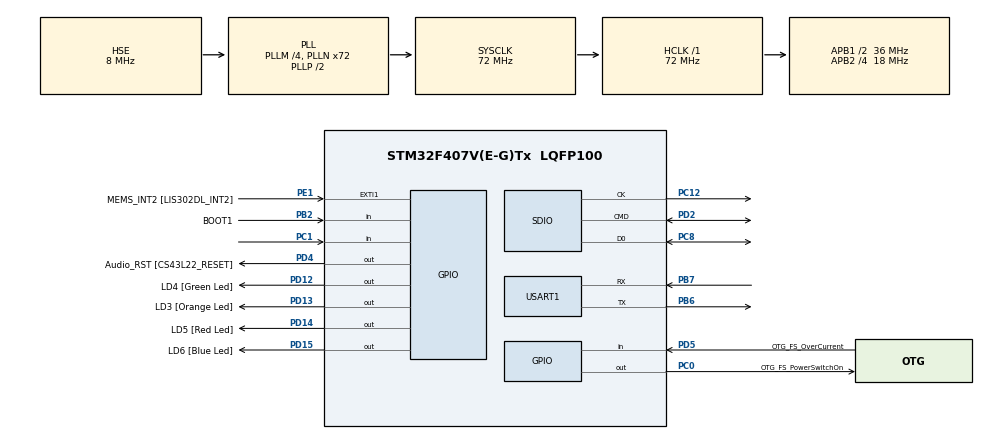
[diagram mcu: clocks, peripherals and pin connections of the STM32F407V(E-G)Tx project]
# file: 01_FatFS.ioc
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FATFS.BSP.number=1
FATFS._FS_EXFAT=0
FATFS._FS_RPATH=2
FATFS._MAX_SS=4096
FATFS._USE_LFN=0
FATFS._USE_STRFUNC=2
FATFS0.BSP.STBoard=false
FATFS0.BSP.api=Unknown
FATFS0.BSP.instance=PC1
FATFS0.BSP.ip=GPIO
FATFS0.BSP.mode=Input
FATFS0.BSP.name=Detect_SDIO
FATFS0.BSP.solution=PC1
Mcu.Family=STM32F4
Mcu.Name=STM32F407V(E-G)Tx
Mcu.Package=LQFP100
NVIC.PriorityGroup=NVIC_PRIORITYGROUP_0
NVIC.SDIO_IRQn=true\:0\:0\:false\:false\:true\:true\:true\:true
NVIC.USART1_IRQn=true\:0\:0\:false\:false\:true\:true\:true\:true
PA10.GPIO_Label=OTG_FS_ID
PA10.GPIO_Mode=GPIO_MODE_AF_PP
PA10.GPIO_PuPd=GPIO_NOPULL
PA10.GPIO_Speed=GPIO_SPEED_FREQ_LOW
PA10.Signal=USB_OTG_FS_ID
PA11.GPIO_Label=OTG_FS_DM
PA11.GPIO_Mode=GPIO_MODE_AF_PP
PA11.GPIO_PuPd=GPIO_NOPULL
PA11.GPIO_Speed=GPIO_SPEED_FREQ_LOW
PA11.Signal=USB_OTG_FS_DM
PA12.GPIO_Label=OTG_FS_DP
PA12.GPIO_Mode=GPIO_MODE_AF_PP
PA12.GPIO_PuPd=GPIO_NOPULL
PA12.GPIO_Speed=GPIO_SPEED_FREQ_LOW
PA12.Signal=USB_OTG_FS_DP
PA13.GPIO_Label=SWDIO
PA13.Mode=Serial_Wire
PA13.Signal=SYS_JTMS-SWDIO
PA14.GPIO_Label=SWCLK
PA14.Mode=Serial_Wire
PA14.Signal=SYS_JTCK-SWCLK
PA4.GPIO_Label=I2S3_WS [CS43L22_LRCK]
PA4.GPIO_Mode=GPIO_MODE_AF_PP
PA4.GPIO_PuPd=GPIO_NOPULL
PA4.GPIO_Speed=GPIO_SPEED_FREQ_LOW
PA4.Signal=I2S3_WS
PA5.GPIO_Label=SPI1_SCK [LIS302DL_SCL/SPC]
PA5.GPIO_Mode=GPIO_MODE_AF_PP
PA5.GPIO_PuPd=GPIO_NOPULL
PA5.GPIO_Speed=GPIO_SPEED_FREQ_LOW
PA5.Signal=SPI1_SCK
PA6.GPIO_Label=SPI1_MISO [LIS302DL_SDO]
PA6.GPIO_Mode=GPIO_MODE_AF_PP
PA6.GPIO_PuPd=GPIO_NOPULL
PA6.GPIO_Speed=GPIO_SPEED_FREQ_LOW
PA6.Signal=SPI1_MISO
PA7.GPIO_Label=SPI1_MOSI [LIS302DL_SDA/SDI/SDO]
PA7.GPIO_Mode=GPIO_MODE_AF_PP
PA7.GPIO_PuPd=GPIO_NOPULL
PA7.GPIO_Speed=GPIO_SPEED_FREQ_LOW
PA7.Signal=SPI1_MOSI
PA9.GPIO_Label=VBUS_FS
PA9.GPIO_Mode=GPIO_MODE_INPUT
PA9.GPIO_PuPd=GPIO_NOPULL
PA9.Signal=USB_OTG_FS_VBUS
PB10.GPIO_Label=CLK_IN [MP45DT02_CLK]
PB10.GPIO_Mode=GPIO_MODE_AF_PP
PB10.GPIO_PuPd=GPIO_NOPULL
PB10.GPIO_Speed=GPIO_SPEED_FREQ_LOW
PB10.Signal=I2S2_CK
PB2.GPIO_Label=BOOT1
PB2.GPIO_Mode=GPIO_MODE_INPUT
PB2.GPIO_PuPd=GPIO_NOPULL
PB2.Signal=GPIO_Input
PB3.GPIO_Label=SWO
PB3.Signal=SYS_JTDO-SWO
PB6.Mode=Asynchronous
PB6.Signal=USART1_TX
PB7.Mode=Asynchronous
PB7.Signal=USART1_RX
PC0.GPIO_Label=OTG_FS_PowerSwitchOn
PC0.GPIO_PuPd=GPIO_NOPULL
PC0.GPIO_Speed=GPIO_SPEED_FREQ_LOW
PC0.PinState=GPIO_PIN_SET
PC0.Signal=GPIO_Output
PC1.GPIO_PuPd=GPIO_PULLDOWN
PC1.Signal=GPIO_Input
PC12.Mode=SD_1_bit
PC12.Signal=SDIO_CK
PC14-OSC32_IN.GPIO_Label=PC14-OSC32_IN
PC14-OSC32_IN.Signal=RCC_OSC32_IN
PC15-OSC32_OUT.GPIO_Label=PC15-OSC32_OUT
PC15-OSC32_OUT.Signal=RCC_OSC32_OUT
PC3.GPIO_Label=PDM_OUT [MP45DT02_DOUT]
PC3.GPIO_Mode=GPIO_MODE_AF_PP
PC3.GPIO_PuPd=GPIO_NOPULL
PC3.GPIO_Speed=GPIO_SPEED_FREQ_LOW
PC3.Signal=I2S2_SD
PC8.GPIO_PuPd=GPIO_NOPULL
PC8.GPIO_Speed_High_Default=GPIO_SPEED_FREQ_VERY_HIGH
PC8.Mode=SD_1_bit
PC8.Signal=SDIO_D0
PD12.GPIO_Label=LD4 [Green Led]
PD12.GPIO_PuPd=GPIO_NOPULL
PD12.GPIO_Speed=GPIO_SPEED_FREQ_LOW
PD12.Signal=GPIO_Output
PD13.GPIO_Label=LD3 [Orange Led]
PD13.GPIO_PuPd=GPIO_NOPULL
PD13.GPIO_Speed=GPIO_SPEED_FREQ_LOW
PD13.Signal=GPIO_Output
PD14.GPIO_Label=LD5 [Red Led]
PD14.GPIO_PuPd=GPIO_NOPULL
PD14.GPIO_Speed=GPIO_SPEED_FREQ_LOW
PD14.Signal=GPIO_Output
PD15.GPIO_Label=LD6 [Blue Led]
PD15.GPIO_PuPd=GPIO_NOPULL
PD15.GPIO_Speed=GPIO_SPEED_FREQ_LOW
PD15.Signal=GPIO_Output
PD2.GPIO_PuPd=GPIO_NOPULL
PD2.GPIO_Speed_High_Default=GPIO_SPEED_FREQ_VERY_HIGH
PD2.Mode=SD_1_bit
PD2.Signal=SDIO_CMD
PD4.GPIO_Label=Audio_RST [CS43L22_RESET]
PD4.GPIO_PuPd=GPIO_NOPULL
PD4.GPIO_Speed=GPIO_SPEED_FREQ_LOW
PD4.Signal=GPIO_Output
PD5.GPIO_Label=OTG_FS_OverCurrent
PD5.GPIO_Mode=GPIO_MODE_INPUT
PD5.GPIO_PuPd=GPIO_NOPULL
PD5.Signal=GPIO_Input
PE1.GPIO_Label=MEMS_INT2 [LIS302DL_INT2]
PE1.GPIO_ModeDefaultEXTI=GPIO_MODE_EVT_RISING
PE1.GPIO_PuPd=GPIO_NOPULL
PE1.Signal=GPXTI1
PH0-OSC_IN.GPIO_Label=PH0-OSC_IN
PH0-OSC_IN.Mode=HSE-External-Oscillator
PH0-OSC_IN.Signal=RCC_OSC_IN
PH1-OSC_OUT.GPIO_Label=PH1-OSC_OUT
PH1-OSC_OUT.Mode=HSE-External-Oscillator
PH1-OSC_OUT.Signal=RCC_OSC_OUT
ProjectManager.HeapSize=0x400
ProjectManager.StackSize=0x800
ProjectManager.TargetToolchain=STM32CubeIDE
RCC.48MHZClocksFreq_Value=48000000
RCC.AHBFreq_Value=72000000
RCC.APB1CLKDivider=RCC_HCLK_DIV2
RCC.APB1Freq_Value=36000000
RCC.APB1TimFreq_Value=72000000
RCC.APB2CLKDivider=RCC_HCLK_DIV4
RCC.APB2Freq_Value=18000000
RCC.APB2TimFreq_Value=36000000
RCC.CortexFreq_Value=72000000
RCC.HCLKFreq_Value=72000000
RCC.HSE_VALUE=8000000
RCC.HSI_VALUE=16000000
RCC.LSE_VALUE=32768
RCC.PLLM=4
RCC.PLLN=72
RCC.PLLQ=3
RCC.PLLSourceVirtual=RCC_PLLSOURCE_HSE
RCC.SYSCLKFreq_VALUE=72000000
RCC.SYSCLKSource=RCC_SYSCLKSOURCE_PLLCLK
RCC.VCOOutputFreq_Value=144000000
SDIO.ClockBypass=SDIO_CLOCK_BYPASS_DISABLE
SDIO.ClockDiv=6
USART1.VirtualMode=VM_ASYNC
VP_FATFS_VS_SDIO.Mode=SDIO
board=STM32F407G-DISC1

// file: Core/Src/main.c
/* USER CODE BEGIN Header */
/**
  ******************************************************************************
  * @file           : main.c
  * @brief          : Main program body
  ******************************************************************************
  * @attention
  *
  * Copyright (c) 2023 STMicroelectronics.
  * All rights reserved.
  *
  * This software is licensed under terms that can be found in the LICENSE file
  * in the root directory of this software component.
  * If no LICENSE file comes with this software, it is provided AS-IS.
  *
  ******************************************************************************
  */
/* USER CODE END Header */
#include "main.h"
#include "fatfs.h"

/* USER CODE BEGIN Includes */
#include <string.h>
#include <stdio.h>
/* USER CODE END Includes */

/* USER CODE BEGIN PD */
#define PATH_SIZE 				32
#define CMD_SIZE				100
#define BUF_RW_SIZE				1000
#define END_OF_FILE				26
/* USER CODE END PD */

SD_HandleTypeDef hsd;

UART_HandleTypeDef huart1;

/* USER CODE BEGIN PV */
FATFS fatfs;
FIL myfile;
FRESULT fresult;
FILINFO fno;
DIR dir;

uint8_t cmd[CMD_SIZE];
uint8_t buff_read[BUF_RW_SIZE];
uint8_t buff_write[BUF_RW_SIZE];
UINT byte_read = 0;
uint8_t cmd_buf_index = 0;
uint8_t write_buf_index = 0;
uint8_t cmd_length = 0;
TCHAR path[PATH_SIZE];
char mess_buff[100];
uint32_t i;
uint8_t level = 0;

typedef enum {
	LEVEL_INCREASE,
	LEVEL_DECREASE,
	LEVEL_NOT_CHANGE
}Level_State_t;

typedef enum {
	CMD_READY,
	CMD_BUSY,
	CMD_CAN_USE
}Cmd_State_t;

typedef enum {
	MODE_CMD,
	MODE_WRITE
}Mode_t;

typedef enum {
	CMD_LINE_SHOW,
	CMD_LINE_HIDE
}CMD_Line_t;

Cmd_State_t cmd_state = CMD_READY;
Level_State_t level_state = LEVEL_NOT_CHANGE;
Mode_t mode = MODE_CMD;
CMD_Line_t cmd_line = CMD_LINE_SHOW;
/* USER CODE END PV */

void SystemClock_Config(void);
static void MX_GPIO_Init(void);
static void MX_SDIO_SD_Init(void);
static void MX_USART1_UART_Init(void);

/* USER CODE BEGIN 0 */
void HAL_UART_RxCpltCallback(UART_HandleTypeDef *huart) {
	if(mode == MODE_CMD) {
		if(cmd_state == CMD_READY) {
			cmd_buf_index++;
			if(cmd[cmd_buf_index - 1] == '\n' && cmd_buf_index > 1) {
				sprintf(mess_buff, "\n");
				HAL_UART_Transmit(&huart1, (const uint8_t *)mess_buff, 1, 1000);
				cmd_state = CMD_CAN_USE;
				cmd_length = cmd_buf_index - 2;
				cmd[cmd_length] = '\0';
				cmd_buf_index = 0;
			}
			HAL_UART_Receive_IT(&huart1, &cmd[cmd_buf_index], 1);
		}
	}
	else if(mode == MODE_WRITE) {
		write_buf_index++;
		if(buff_write[write_buf_index - 1] == END_OF_FILE) {
			sprintf(mess_buff, "\r\n");
			HAL_UART_Transmit(&huart1, (const uint8_t *)mess_buff, 1, 1000);
			write_buf_index = 0;
			mode = MODE_CMD;
		}
		HAL_UART_Receive_IT(&huart1, &buff_write[write_buf_index], 1);
	}
}

void clearCMDBuffer() {
	memset(cmd, 0, CMD_SIZE);
}

void clearWriteBuffer() {
	memset(buff_write, 0, BUF_RW_SIZE);
}

void clearReadBuffer() {
	memset(buff_read, 0, BUF_RW_SIZE);
}

void mount_sd() {
	fresult = f_mount(&fatfs, "/", 1);
	if (fresult != FR_OK) {
		sprintf(mess_buff, "error in mounting SD CARD...\r\n");
		HAL_UART_Transmit(&huart1, (const uint8_t *)mess_buff, strlen(mess_buff), 1000);
	}
	else {
		sprintf(mess_buff, "SD CARD mounted successfully...\r\n");
		HAL_UART_Transmit(&huart1, (const uint8_t *)mess_buff, strlen(mess_buff), 1000);
	}
}

FRESULT getPath() {
	/* Get the directory */
	fresult = f_getcwd(path, PATH_SIZE);

	return fresult;
}

void returnParentsDir(char source[]) {
	uint8_t path_length = strlen(source);

	for(uint8_t i = path_length - 1; i > 0; i--) {
		if(level == 1) {
			source[1] = '\0';
			level_state = LEVEL_DECREASE;
			return;
		}
		if(source[i] == '/') {
			source[i] = '\0';
			level_state = LEVEL_DECREASE;
			return;
		}
	}
	source[1] = '\0';
	level_state = LEVEL_NOT_CHANGE;
}

FRESULT listFileDir(char* path) {
	fresult = f_opendir(&dir, path);                       		/* Open the directory */
	if (fresult == FR_OK) {
		for (;;) {
			fresult = f_readdir(&dir, &fno);                   	/* Read a directory item */
			if (fresult != FR_OK || fno.fname[0] == 0) break;  	/* Error or end of dir */
			if (fno.fattrib & AM_DIR) {            				/* Directory */
				sprintf(mess_buff, "   %-20s%-20s\r\n", "<DIR>", fno.fname);
				HAL_UART_Transmit(&huart1, (const uint8_t *)mess_buff, strlen(mess_buff), 1000);
			} else {                               				/* File */
				sprintf(mess_buff, "   %-8s%8lu    %-20s\r\n", "<FIL>", fno.fsize, fno.fname);
				HAL_UART_Transmit(&huart1, (const uint8_t *)mess_buff, strlen(mess_buff), 1000);
			}
		}
		sprintf(mess_buff, "\r\n");
		HAL_UART_Transmit(&huart1, (const uint8_t *)mess_buff, strlen(mess_buff), 1000);
		f_closedir(&dir);
	} else {
		sprintf(mess_buff, "Failed to open \"%s\". (%u)\r\n", path, fresult);
		HAL_UART_Transmit(&huart1, (const uint8_t *)mess_buff, strlen(mess_buff), 1000);
	}
	return fresult;
}
/* USER CODE END 0 */

int main(void)
{

  /* MCU Configuration--------------------------------------------------------*/

  /* Reset of all peripherals, Initializes the Flash interface and the Systick. */
  HAL_Init();

  /* Configure the system clock */
  SystemClock_Config();

  /* Initialize all configured peripherals */
  MX_GPIO_Init();
  MX_SDIO_SD_Init();
  MX_FATFS_Init();
  MX_USART1_UART_Init();
  /* USER CODE BEGIN 2 */
//  Ringbuf_init();  // init the ring buffer
  mount_sd();
  HAL_UART_Receive_IT(&huart1, &cmd[cmd_buf_index], 1);

  /* USER CODE END 2 */

  /* Infinite loop */
  while (1)
  {

    /* USER CODE BEGIN 3 */
	  if(cmd_line == CMD_LINE_SHOW) {
		  fresult = getPath();
		  if(fresult != FR_OK) {
			  sprintf(mess_buff, "There is a error when get the path!\r\n");
			  HAL_UART_Transmit(&huart1, (const uint8_t *)mess_buff, strlen(mess_buff), 1000);
			  cmd_line = CMD_LINE_HIDE;
		  }
		  else {
			  sprintf(mess_buff, "SD: %s> ", path);
			  HAL_UART_Transmit(&huart1, (const uint8_t *)mess_buff, strlen(mess_buff), 1000);
			  cmd_line = CMD_LINE_HIDE;
		  }
	  }

	  switch(cmd_state) {
	  case CMD_CAN_USE:
		  //_______________________list all files and directories_______________________
		  if(cmd_length > 0 && !strcmp((const char *)cmd, "ls")) {
			  fresult = getPath();
			  if(fresult == FR_OK) {
				  sprintf(mess_buff, "\tDirectory: %s\r\n\n", path);
			  	  HAL_UART_Transmit(&huart1, (const uint8_t *)mess_buff, strlen(mess_buff), 1000);
				  listFileDir(path);
			  }
		  }
		  //_______________________change to another directory_______________________
		  else if(cmd_length > 0 && !strncmp((const char *)cmd, "cd", 2) && cmd[2] == ' ') {
			  getPath();

			  char tmp[CMD_SIZE];
			  if(level >= 1) {
				  memcpy(&tmp[1], &cmd[3], cmd_length - 3);
				  tmp[0] = '/';
				  tmp[cmd_length - 2] = '\0';

				  if(strcmp("/..", tmp) == 0) {
					  returnParentsDir(path);
				  }
				  else {
					  level_state = LEVEL_INCREASE;
					  strcat(path, tmp);
				  }
			  }
			  else {
				  memcpy(tmp, &cmd[3], cmd_length - 3);
				  tmp[cmd_length - 3] = '\0';
				  if(strcmp("..", tmp) == 0) {
					  returnParentsDir(path);
				  }
				  else {
					  level_state = LEVEL_INCREASE;
					  strcat(path, tmp);
				  }
			  }

			  fresult = f_chdir(path);
			  if(fresult == FR_OK) {
				  if(level_state == LEVEL_DECREASE) {
					  level--;
				  }
				  else if(level_state == LEVEL_INCREASE) {
					  level++;
				  }
			  }
		  }
		  //_______________________print all content of a file_______________________
		  else if(cmd_length > 0 && !strncmp((const char *)cmd, "cat", 3) && cmd[3] == ' ') {
			  char tmp[CMD_SIZE];

			  memcpy(tmp, &cmd[4], cmd_length - 4);
			  tmp[cmd_length - 4] = '\0';

			  fresult = f_open(&myfile, tmp, FA_OPEN_EXISTING | FA_READ);

			  if(fresult != FR_OK) {
				  sprintf(mess_buff, "Cannot open the file\r\n");
				  HAL_UART_Transmit(&huart1, (const uint8_t *)mess_buff, strlen(mess_buff), 1000);
				  clearCMDBuffer();
				  break;
			  }

			  fresult = f_read(&myfile, buff_read, f_size(&myfile), &byte_read);

			  if(fresult != FR_OK) {
				  sprintf(mess_buff, "Cannot read the file\r\n");
				  HAL_UART_Transmit(&huart1, (const uint8_t *)mess_buff, strlen(mess_buff), 1000);
				  clearCMDBuffer();
				  break;
			  }

			  f_close(&myfile);
			  HAL_UART_Transmit(&huart1, (const uint8_t *)buff_read, strlen((const char *)buff_read), 1000);
			  clearReadBuffer();

			  sprintf(mess_buff, "\r\n");
			  HAL_UART_Transmit(&huart1, (const uint8_t *)mess_buff, strlen(mess_buff), 1000);
		  }
		  //_______________________create a file_______________________
		  else if(cmd_length > 0 && !strncmp((const char *)cmd, "touch", 5) && cmd[5] == ' ') {
			  char tmp[CMD_SIZE];

			  memcpy(tmp, &cmd[6], cmd_length - 6);
			  tmp[cmd_length - 6] = '\0';

			  fresult = f_open(&myfile, tmp, FA_CREATE_NEW);

			  if(fresult != FR_OK) {
				  sprintf(mess_buff, "Cannot create the file\r\n");
				  HAL_UART_Transmit(&huart1, (const uint8_t *)mess_buff, strlen(mess_buff), 1000);
				  clearCMDBuffer();
				  break;
			  }

			  f_close(&myfile);
		  }
		  //_______________________write into a file_______________________
		  else if(cmd_length > 0 && !strncmp((const char *)cmd, "vi", 2) && cmd[2] == ' ') {
			  char tmp[CMD_SIZE];

			  memcpy(tmp, &cmd[3], cmd_length - 3);
			  tmp[cmd_length - 3] = '\0';

			  fresult = f_open(&myfile, tmp, FA_OPEN_EXISTING | FA_WRITE);

			  if(fresult != FR_OK) {
				  sprintf(mess_buff, "Cannot open the file\r\n");
				  HAL_UART_Transmit(&huart1, (const uint8_t *)mess_buff, strlen(mess_buff), 1000);
				  clearCMDBuffer();
				  break;
			  }

			  f_truncate(&myfile);

			  mode = MODE_WRITE;
			  huart1.RxState = HAL_UART_STATE_READY;
			  HAL_UART_Receive_IT(&huart1, &buff_write[write_buf_index], 1);

			  while(buff_write[strlen((const char *)buff_write) - 1] != END_OF_FILE);	//until enter the EOF

			  sprintf(mess_buff, "\r\n");
			  HAL_UART_Transmit(&huart1, (const uint8_t *)mess_buff, strlen(mess_buff), 1000);

			  huart1.RxState = HAL_UART_STATE_READY;
			  HAL_UART_Receive_IT(&huart1, &cmd[cmd_buf_index], 1);

			  fresult = f_write(&myfile, buff_write, strlen((const char *)buff_write), &byte_read);
			  clearWriteBuffer();

			  if(fresult != FR_OK) {
				  sprintf(mess_buff, "Cannot write the file\r\n");
				  HAL_UART_Transmit(&huart1, (const uint8_t *)mess_buff, strlen(mess_buff), 1000);
				  clearCMDBuffer();
				  break;
			  }

			  f_close(&myfile);
		  }
		  cmd_state = CMD_READY;
		  cmd_line = CMD_LINE_SHOW;
		  clearCMDBuffer();
	  }
  }
  /* USER CODE END 3 */
}

void SystemClock_Config(void)
{
  RCC_OscInitTypeDef RCC_OscInitStruct = {0};
  RCC_ClkInitTypeDef RCC_ClkInitStruct = {0};

  /** Configure the main internal regulator output voltage
  */
  __HAL_RCC_PWR_CLK_ENABLE();
  __HAL_PWR_VOLTAGESCALING_CONFIG(PWR_REGULATOR_VOLTAGE_SCALE1);

  /** Initializes the RCC Oscillators according to the specified parameters
  * in the RCC_OscInitTypeDef structure.
  */
  RCC_OscInitStruct.OscillatorType = RCC_OSCILLATORTYPE_HSE;
  RCC_OscInitStruct.HSEState = RCC_HSE_ON;
  RCC_OscInitStruct.PLL.PLLState = RCC_PLL_ON;
  RCC_OscInitStruct.PLL.PLLSource = RCC_PLLSOURCE_HSE;
  RCC_OscInitStruct.PLL.PLLM = 4;
  RCC_OscInitStruct.PLL.PLLN = 72;
  RCC_OscInitStruct.PLL.PLLP = RCC_PLLP_DIV2;
  RCC_OscInitStruct.PLL.PLLQ = 3;
  if (HAL_RCC_OscConfig(&RCC_OscInitStruct) != HAL_OK)
  {
    Error_Handler();
  }

  /** Initializes the CPU, AHB and APB buses clocks
  */
  RCC_ClkInitStruct.ClockType = RCC_CLOCKTYPE_HCLK|RCC_CLOCKTYPE_SYSCLK
                              |RCC_CLOCKTYPE_PCLK1|RCC_CLOCKTYPE_PCLK2;
  RCC_ClkInitStruct.SYSCLKSource = RCC_SYSCLKSOURCE_PLLCLK;
  RCC_ClkInitStruct.AHBCLKDivider = RCC_SYSCLK_DIV1;
  RCC_ClkInitStruct.APB1CLKDivider = RCC_HCLK_DIV2;
  RCC_ClkInitStruct.APB2CLKDivider = RCC_HCLK_DIV4;

  if (HAL_RCC_ClockConfig(&RCC_ClkInitStruct, FLASH_LATENCY_2) != HAL_OK)
  {
    Error_Handler();
  }
}

static void MX_SDIO_SD_Init(void)
{

  hsd.Instance = SDIO;
  hsd.Init.ClockEdge = SDIO_CLOCK_EDGE_RISING;
  hsd.Init.ClockBypass = SDIO_CLOCK_BYPASS_DISABLE;
  hsd.Init.ClockPowerSave = SDIO_CLOCK_POWER_SAVE_DISABLE;
  hsd.Init.BusWide = SDIO_BUS_WIDE_1B;
  hsd.Init.HardwareFlowControl = SDIO_HARDWARE_FLOW_CONTROL_DISABLE;
  hsd.Init.ClockDiv = 6;

}

static void MX_USART1_UART_Init(void)
{

  huart1.Instance = USART1;
  huart1.Init.BaudRate = 115200;
  huart1.Init.WordLength = UART_WORDLENGTH_8B;
  huart1.Init.StopBits = UART_STOPBITS_1;
  huart1.Init.Parity = UART_PARITY_NONE;
  huart1.Init.Mode = UART_MODE_TX_RX;
  huart1.Init.HwFlowCtl = UART_HWCONTROL_NONE;
  huart1.Init.OverSampling = UART_OVERSAMPLING_16;
  if (HAL_UART_Init(&huart1) != HAL_OK)
  {
    Error_Handler();
  }

}

static void MX_GPIO_Init(void)
{
  GPIO_InitTypeDef GPIO_InitStruct = {0};

  /* GPIO Ports Clock Enable */
  __HAL_RCC_GPIOC_CLK_ENABLE();
  __HAL_RCC_GPIOH_CLK_ENABLE();
  __HAL_RCC_GPIOA_CLK_ENABLE();
  __HAL_RCC_GPIOB_CLK_ENABLE();
  __HAL_RCC_GPIOD_CLK_ENABLE();
  __HAL_RCC_GPIOE_CLK_ENABLE();

  /*Configure GPIO pin Output Level */
  HAL_GPIO_WritePin(OTG_FS_PowerSwitchOn_GPIO_Port, OTG_FS_PowerSwitchOn_Pin, GPIO_PIN_SET);

  /*Configure GPIO pin Output Level */
  HAL_GPIO_WritePin(GPIOD, LD4_Pin|LD3_Pin|LD5_Pin|LD6_Pin
                          |Audio_RST_Pin, GPIO_PIN_RESET);

  /*Configure GPIO pin : OTG_FS_PowerSwitchOn_Pin */
  GPIO_InitStruct.Pin = OTG_FS_PowerSwitchOn_Pin;
  GPIO_InitStruct.Mode = GPIO_MODE_OUTPUT_PP;
  GPIO_InitStruct.Pull = GPIO_NOPULL;
  GPIO_InitStruct.Speed = GPIO_SPEED_FREQ_LOW;
  HAL_GPIO_Init(OTG_FS_PowerSwitchOn_GPIO_Port, &GPIO_InitStruct);

  /*Configure GPIO pin : PC1 */
  GPIO_InitStruct.Pin = GPIO_PIN_1;
  GPIO_InitStruct.Mode = GPIO_MODE_INPUT;
  GPIO_InitStruct.Pull = GPIO_PULLDOWN;
  HAL_GPIO_Init(GPIOC, &GPIO_InitStruct);

  /*Configure GPIO pin : PDM_OUT_Pin */
  GPIO_InitStruct.Pin = PDM_OUT_Pin;
  GPIO_InitStruct.Mode = GPIO_MODE_AF_PP;
  GPIO_InitStruct.Pull = GPIO_NOPULL;
  GPIO_InitStruct.Speed = GPIO_SPEED_FREQ_LOW;
  GPIO_InitStruct.Alternate = GPIO_AF5_SPI2;
  HAL_GPIO_Init(PDM_OUT_GPIO_Port, &GPIO_InitStruct);

  /*Configure GPIO pin : I2S3_WS_Pin */
  GPIO_InitStruct.Pin = I2S3_WS_Pin;
  GPIO_InitStruct.Mode = GPIO_MODE_AF_PP;
  GPIO_InitStruct.Pull = GPIO_NOPULL;
  GPIO_InitStruct.Speed = GPIO_SPEED_FREQ_LOW;
  GPIO_InitStruct.Alternate = GPIO_AF6_SPI3;
  HAL_GPIO_Init(I2S3_WS_GPIO_Port, &GPIO_InitStruct);

  /*Configure GPIO pins : SPI1_SCK_Pin SPI1_MISO_Pin SPI1_MOSI_Pin */
  GPIO_InitStruct.Pin = SPI1_SCK_Pin|SPI1_MISO_Pin|SPI1_MOSI_Pin;
  GPIO_InitStruct.Mode = GPIO_MODE_AF_PP;
  GPIO_InitStruct.Pull = GPIO_NOPULL;
  GPIO_InitStruct.Speed = GPIO_SPEED_FREQ_LOW;
  GPIO_InitStruct.Alternate = GPIO_AF5_SPI1;
  HAL_GPIO_Init(GPIOA, &GPIO_InitStruct);

  /*Configure GPIO pin : BOOT1_Pin */
  GPIO_InitStruct.Pin = BOOT1_Pin;
  GPIO_InitStruct.Mode = GPIO_MODE_INPUT;
  GPIO_InitStruct.Pull = GPIO_NOPULL;
  HAL_GPIO_Init(BOOT1_GPIO_Port, &GPIO_InitStruct);

  /*Configure GPIO pin : CLK_IN_Pin */
  GPIO_InitStruct.Pin = CLK_IN_Pin;
  GPIO_InitStruct.Mode = GPIO_MODE_AF_PP;
  GPIO_InitStruct.Pull = GPIO_NOPULL;
  GPIO_InitStruct.Speed = GPIO_SPEED_FREQ_LOW;
  GPIO_InitStruct.Alternate = GPIO_AF5_SPI2;
  HAL_GPIO_Init(CLK_IN_GPIO_Port, &GPIO_InitStruct);

  /*Configure GPIO pins : LD4_Pin LD3_Pin LD5_Pin LD6_Pin
                           Audio_RST_Pin */
  GPIO_InitStruct.Pin = LD4_Pin|LD3_Pin|LD5_Pin|LD6_Pin
                          |Audio_RST_Pin;
  GPIO_InitStruct.Mode = GPIO_MODE_OUTPUT_PP;
  GPIO_InitStruct.Pull = GPIO_NOPULL;
  GPIO_InitStruct.Speed = GPIO_SPEED_FREQ_LOW;
  HAL_GPIO_Init(GPIOD, &GPIO_InitStruct);

  /*Configure GPIO pin : VBUS_FS_Pin */
  GPIO_InitStruct.Pin = VBUS_FS_Pin;
  GPIO_InitStruct.Mode = GPIO_MODE_INPUT;
  GPIO_InitStruct.Pull = GPIO_NOPULL;
  HAL_GPIO_Init(VBUS_FS_GPIO_Port, &GPIO_InitStruct);

  /*Configure GPIO pins : OTG_FS_ID_Pin OTG_FS_DM_Pin OTG_FS_DP_Pin */
  GPIO_InitStruct.Pin = OTG_FS_ID_Pin|OTG_FS_DM_Pin|OTG_FS_DP_Pin;
  GPIO_InitStruct.Mode = GPIO_MODE_AF_PP;
  GPIO_InitStruct.Pull = GPIO_NOPULL;
  GPIO_InitStruct.Speed = GPIO_SPEED_FREQ_LOW;
  GPIO_InitStruct.Alternate = GPIO_AF10_OTG_FS;
  HAL_GPIO_Init(GPIOA, &GPIO_InitStruct);

  /*Configure GPIO pin : OTG_FS_OverCurrent_Pin */
  GPIO_InitStruct.Pin = OTG_FS_OverCurrent_Pin;
  GPIO_InitStruct.Mode = GPIO_MODE_INPUT;
  GPIO_InitStruct.Pull = GPIO_NOPULL;
  HAL_GPIO_Init(OTG_FS_OverCurrent_GPIO_Port, &GPIO_InitStruct);

  /*Configure GPIO pin : MEMS_INT2_Pin */
  GPIO_InitStruct.Pin = MEMS_INT2_Pin;
  GPIO_InitStruct.Mode = GPIO_MODE_EVT_RISING;
  GPIO_InitStruct.Pull = GPIO_NOPULL;
  HAL_GPIO_Init(MEMS_INT2_GPIO_Port, &GPIO_InitStruct);

}

void Error_Handler(void)
{
  __disable_irq();
  while (1)
  {
  }
}
